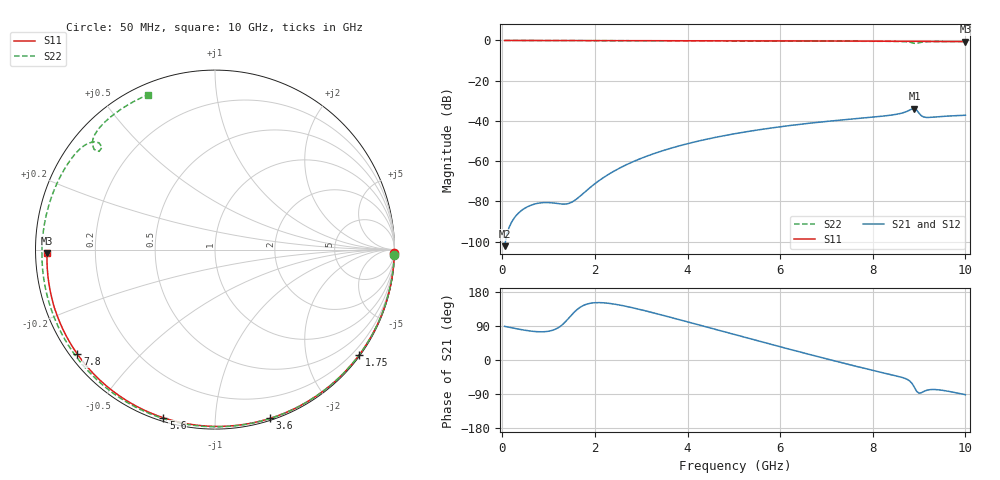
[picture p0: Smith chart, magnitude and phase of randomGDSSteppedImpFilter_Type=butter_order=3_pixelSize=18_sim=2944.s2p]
! freq	dB(S11)	phase(S11)	dB(S12)	phase(S12)
!  dB(S21)	phase(S21)	dB(S22)	phase(S22)
!S-par simulation data
#  GHz  S  DB  R 50
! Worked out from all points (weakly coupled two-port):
!   200 points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, 50 MHz to 10 GHz, reference 50 ohm
!   highest |S21| = -33.85 dB at 8.9 GHz (marker M1); lowest = -102.2 dB at 50 MHz (marker M2)
!   lowest |S11| = -0.6 dB at 10 GHz (marker M3), VSWR 30.33, Z = 1.65 - j0.52 ohm
!   |S11| at or under -10 dB: nowhere
!   |S22| runs from -1.4 to 0.0 dB; largest |S21 - S12| = 0
!   S11 on the Smith chart (normalised r, x): 50 MHz: open; 1.75 GHz: 0.03, -3.06; 3.6 GHz: 0.02, -1.38; 5.6 GHz: 0.02, -0.74; 7.8 GHz: 0.02, -0.34; 10 GHz: 0.03, -0.01
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0.05  -0.00 -1.1  -102.24 88.7  -102.24 88.7  -0.00 -1.6
0.75  -0.02 -15.7  -81.01 74.7  -81.01 74.7  -0.03 -23.2
1.5  -0.04 -31.1  -80.39 119.3  -80.39 119.3  -0.06 -45.7
1.55  -0.04 -32.1  -79.71 125.7  -79.71 125.7  -0.06 -47.2
1.75  -0.05 -36.1  -75.99 143.8  -75.99 143.8  -0.07 -53.0
2.1  -0.05 -43.1  -69.50 151.4  -69.50 151.4  -0.08 -62.9
2.45  -0.06 -50.0  -64.47 146.9  -64.47 146.9  -0.09 -72.5
2.9  -0.08 -58.7  -59.51 135.4  -59.51 135.4  -0.10 -84.5
3.4  -0.09 -68.2  -55.27 120.1  -55.27 120.1  -0.12 -97.3
3.6  -0.10 -71.9  -53.83 113.7  -53.83 113.7  -0.13 -102.3
4.3  -0.12 -84.6  -49.66 90.7  -49.66 90.7  -0.15 -119.1
5.05  -0.15 -97.7  -46.23 65.9  -46.23 65.9  -0.19 -136.2
5.6  -0.18 -107.0  -44.19 47.9  -44.19 47.9  -0.22 -148.3
6.7  -0.24 -125.1  -40.97 12.5  -40.97 12.5  -0.29 -172.1
7.8  -0.33 -142.8  -38.52 -21.4  -38.52 -21.4  -0.38 163.7
8.35  -0.38 -151.6  -37.25 -37.5  -37.25 -37.5  -0.44 150.9
8.75  -0.42 -158.1  -35.14 -51.5  -35.14 -51.5  -0.71 140.0
8.9  -0.43 -160.5  -33.85 -72.3  -33.85 -72.3  -1.42 137.8
8.95  -0.44 -161.4  -34.68 -83.1  -34.68 -83.1  -1.45 139.7
9.05  -0.45 -163.0  -37.42 -86.3  -37.42 -86.3  -0.90 139.4
9.15  -0.47 -164.6  -38.24 -80.5  -38.24 -80.5  -0.66 136.3
10  -0.57 -178.8  -37.18 -91.5  -37.18 -91.5  -0.54 113.5
